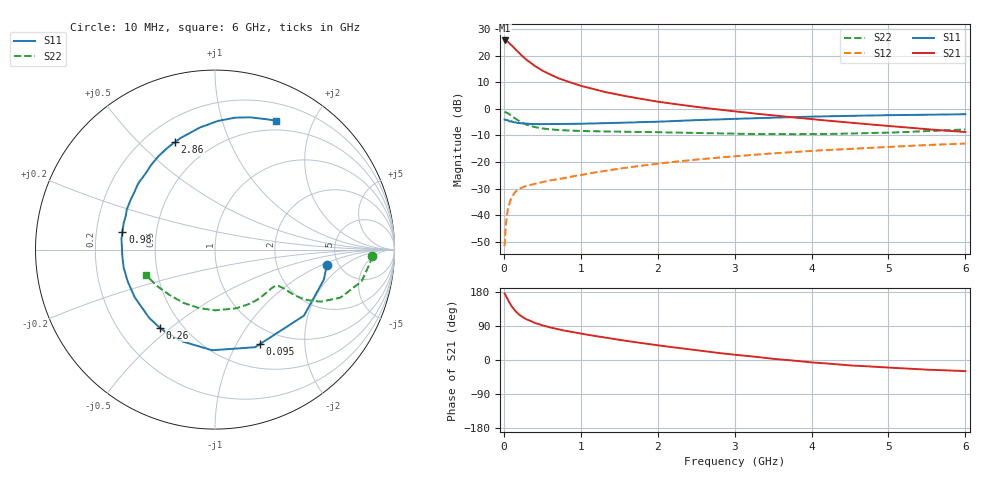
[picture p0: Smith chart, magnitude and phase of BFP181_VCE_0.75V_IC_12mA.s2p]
! (c) 2016  Infineon Technologies AG, Munich
! Infineon Technologies  Discrete & RF Semiconductors
! BFP181
! VCE = 0.75V,  IC =  12 mA
! Common Emitter S-Parameters:  Jan 2016
# GHz  S  MA  R  50
!  f  S11  S21  S12  S22
! GHz  MAG  ANG  MAG  ANG  MAG  ANG  MAG  ANG
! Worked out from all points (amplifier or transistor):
!   210 points, 10 MHz to 6 GHz, reference 50 ohm
!   highest |S21| = 25.8 dB at 10 MHz (marker M1)
!   |S21| within 3 dB of that: start of sweep to 140.2 MHz
!   unconditionally stable (mu >= 1): start of sweep to 15.67 MHz; 355.5 MHz to end of sweep
!   at 185 MHz: K = 0.62, MSG = 25.9 dB, |S12| = -30.4 dB
!   at 1.52 GHz: K = 2.07, MAG = 7.9 dB, |S12| = -22.4 dB
!   at 6 GHz: K = 1.86, MAG = -3.2 dB, |S12| = -13.1 dB
!   S11 on the Smith chart (normalised r, x): 10 MHz: 4.05, -1.13; 95 MHz: 0.79, -1.25; 260 MHz: 0.38, -0.46; 980 MHz: 0.31, +0.08; 2.86 GHz: 0.32, +0.65; 6 GHz: 0.39, +1.51
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0.01  0.6288 -7.7  19.46 175.8  0.0026 81.4  0.8756 -2.3
0.02  0.6291 -15.5  19.41 171.8  0.005 79.3  0.8667 -5.0
0.05  0.6172 -36.6  18.51 159.2  0.0122 73.8  0.8354 -12.3
0.095  0.5829 -64.6  16.08 144.0  0.0206 60.7  0.7555 -20.0
0.1  0.588 -67.7  15.89 142.0  0.0216 59.9  0.7476 -21.0
0.15  0.5609 -91.7  13.34 128.9  0.0274 50.8  0.6575 -26.2
0.2  0.543 -109.8  11.28 119.5  0.0314 46.2  0.5888 -28.6
0.26  0.5334 -125.3  9.314 111.2  0.034 42.5  0.5309 -29.6
0.3  0.5283 -134.0  8.288 106.8  0.0357 41.2  0.5008 -29.8
0.4  0.5204 -149.2  6.49 97.9  0.0389 40.3  0.454 -29.6
0.5  0.5177 -160.1  5.272 91.4  0.0418 40.1  0.4285 -29.5
0.6  0.5186 -169.0  4.464 86.0  0.0451 41.2  0.4127 -29.7
0.7  0.5176 -175.6  3.821 81.4  0.0474 42.7  0.4008 -30.2
0.98  0.5252 169.3  2.788 70.5  0.0562 45.0  0.3856 -32.9
1.02  0.5264 167.4  2.68 69.0  0.0575 45.2  0.3841 -33.4
1.5  0.5462 148.7  1.834 53.1  0.0749 46.8  0.3722 -40.9
2.02  0.5749 131.9  1.356 38.3  0.0935 45.6  0.3639 -51.3
2.86  0.6398 110.3  0.948 17.0  0.1234 40.9  0.3459 -71.4
3.1  0.6562 104.9  0.868 12.0  0.1316 39.3  0.3392 -78.0
4.1  0.7212 87.2  0.623 -7.7  0.1651 31.2  0.3369 -108.0
5.1  0.7644 74.2  0.464 -21.1  0.195 23.0  0.3612 -137.8
6  0.7952 64.6  0.367 -29.4  0.2224 14.7  0.4113 -160.2
